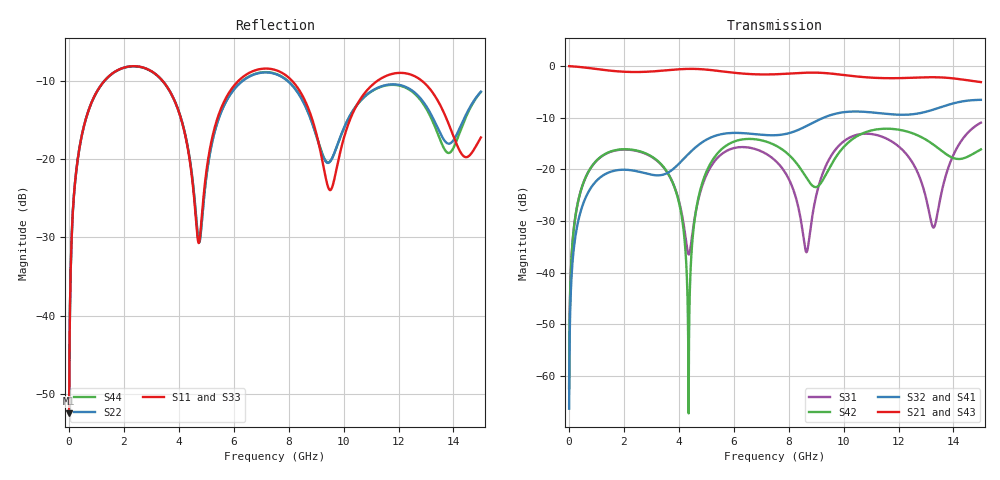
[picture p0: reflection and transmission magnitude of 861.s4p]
! Created with skrf 1.8.0 (http://scikit-rf.org).
# GHz S RI R 50.0
!freq ReS11 ImS11 ReS12 ImS12 ReS13 ImS13
! ReS14 ImS14
! ReS21 ImS21 ReS22 ImS22 ReS23 ImS23
! ReS24 ImS24
! ReS31 ImS31 ReS32 ImS32 ReS33 ImS33
! ReS34 ImS34
! ReS41 ImS41 ReS42 ImS42 ReS43 ImS43
! ReS44 ImS44
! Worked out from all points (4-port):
!   2499 points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, 5 MHz to 15 GHz, reference 50 ohm
!   strongest paths, dB at 5 MHz, 3.476 GHz, 7.19 GHz, 11.1 GHz, 15 GHz:
!     S21: 0.0, -0.8, -1.6, -2.3, -3.1
!     S43: 0.0, -0.8, -1.6, -2.2, -3.1
!     S32: -66.3, -20.9, -13.4, -9.0, -6.5
!     S41: -66.3, -21.0, -13.4, -9.1, -6.5
!     S42: -62.4, -19.8, -14.6, -12.4, -16.1
!     S31: -62.4, -19.8, -17.0, -13.2, -11.0
!   lowest |S11| = -52.5 dB at 5 MHz (marker M1), VSWR 1.00, Z = 50.2 + j0.144 ohm
!   |S11| at or under -10 dB: 3.413 GHz to 6.165 GHz (2.753 GHz wide, 57.5 % of centre); 8.129 GHz to 11.22 GHz (3.095 GHz wide, 32 % of centre); 12.86 GHz to end of sweep (the widest 3 of 4)
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0.005  0.00189 0.00144  0.9981 -0.00368  9.6e-05 0.000753  -9.32e-05 -0.000472
       0.9981 -0.00368  0.00189 0.00144  -9.32e-05 -0.000472  9.61e-05 0.000753
       9.6e-05 0.000753  -9.32e-05 -0.000472  0.00189 0.00144  0.9981 -0.00368
       -9.32e-05 -0.000472  9.61e-05 0.000753  0.9981 -0.00368  0.00189 0.00144
0.3626511  0.0387 0.1058  0.9465 -0.2615  0.0186 0.0497  -0.0155 -0.0301
           0.9465 -0.2615  0.0386 0.1058  -0.0155 -0.0301  0.0189 0.0496
           0.0186 0.0497  -0.0155 -0.0301  0.0387 0.1058  0.9465 -0.2615
           -0.0155 -0.0301  0.0189 0.0496  0.9465 -0.2615  0.0386 0.1058
1.725719  0.3444 0.127  0.3568 -0.8168  0.1494 0.033  -0.0943 0.0255
          0.3568 -0.8168  0.3434 0.1281  -0.0945 0.0257  0.1513 0.0289
          0.1494 0.033  -0.0945 0.0257  0.3442 0.1271  0.3568 -0.8168
          -0.0943 0.0255  0.1513 0.0289  0.3568 -0.8168  0.3434 0.128
4.351813  0.0523 -0.0975  -0.8863 -0.3113  -0.0145 -0.00414  -0.0433 0.1342
          -0.8863 -0.3113  0.0542 -0.0991  -0.0417 0.1348  0.000295 -0.000566
          -0.0145 -0.00414  -0.0417 0.1348  0.0521 -0.0969  -0.8864 -0.3112
          -0.0433 0.1342  0.000295 -0.000566  -0.8864 -0.3112  0.054 -0.0985
5.47103  0.1288 0.1488  -0.8102 0.3817  0.0825 0.1058  0.1189 0.1808
         -0.8102 0.3817  0.1192 0.142  0.1211 0.1798  0.1213 0.0863
         0.0825 0.1058  0.1211 0.1798  0.1285 0.1495  -0.8101 0.3817
         0.1189 0.1808  0.1213 0.0863  -0.8101 0.3817  0.1202 0.1428
9.52897  0.0636 -0.00285  0.8408 0.102  0.0122 0.1323  0.0354 -0.3334
         0.8408 0.102  0.0969 0.0119  0.0285 -0.3341  -0.0135 0.1076
         0.0122 0.1323  0.0285 -0.3341  0.0634 -0.00724  0.8406 0.1045
         0.0354 -0.3334  -0.0135 0.1076  0.8406 0.1045  0.0975 0.00926
15  0.1346 0.0291  -0.6812 0.1597  0.2301 0.1647  0.1486 0.4473
    -0.6812 0.1597  0.2469 0.1094  0.1646 0.4414  0.051 0.1475
    0.2301 0.1647  0.1646 0.4414  0.1391 0.0297  -0.6814 0.1577
    0.1486 0.4473  0.051 0.1475  -0.6814 0.1577  0.24 0.1219
